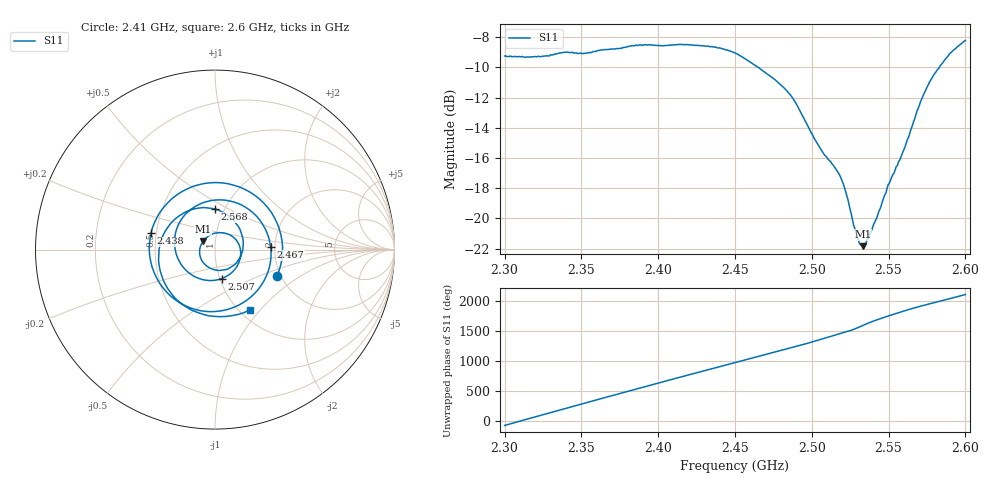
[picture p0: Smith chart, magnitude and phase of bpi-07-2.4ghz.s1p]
! NanoVNA-App
! Date: 2026-05-22 17:55:57
! Start: 2.3GHz Stop: 2.6GHz Points: 401
! S-Parameter data: F S11
# Hz S RI R 50
!  Frequency  S11_Real  S11_Imag
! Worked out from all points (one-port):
!   401 points, 2.3 GHz to 2.6 GHz, reference 50 ohm
!   lowest |S11| = -21.8 dB at 2.533 GHz (marker M1), VSWR 1.18, Z = 43.6 + j4.01 ohm
!   |S11| at or under -10 dB: 2.465 GHz to 2.583 GHz (117.9 MHz wide, 4.67 % of centre)
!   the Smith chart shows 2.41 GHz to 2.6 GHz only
!   S11 on the Smith chart (normalised r, x): 2.41 GHz: 1.90, -0.66; 2.438 GHz: 0.47, +0.10; 2.467 GHz: 1.90, +0.06; 2.507 GHz: 1.02, -0.34; 2.568 GHz: 0.90, +0.43; 2.6 GHz: 1.11, -0.88
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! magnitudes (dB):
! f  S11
! 2.3 GHz  -9.2
! 2.322 GHz  -9.3
! 2.337 GHz  -9.0
! 2.352 GHz  -9.1
! 2.375 GHz  -8.8
! 2.387 GHz  -8.5
! 2.41 GHz  -8.5
! 2.413 GHz  -8.5
! 2.438 GHz  -8.7
! 2.45 GHz  -9.0
! 2.467 GHz  -10.2
! 2.479 GHz  -11.1
! 2.487 GHz  -12.0
! 2.507 GHz  -15.6
! 2.518 GHz  -17.2
! 2.522 GHz  -18.2
! 2.525 GHz  -19.4
! 2.528 GHz  -20.7
! 2.53 GHz  -21.4
! 2.533 GHz  -21.8
! 2.538 GHz  -21.1
! 2.55 GHz  -17.7
! 2.562 GHz  -14.7
! 2.568 GHz  -12.9
! 2.574 GHz  -11.6
! 2.58 GHz  -10.4
! 2.591 GHz  -9.0
! 2.6 GHz  -8.2
